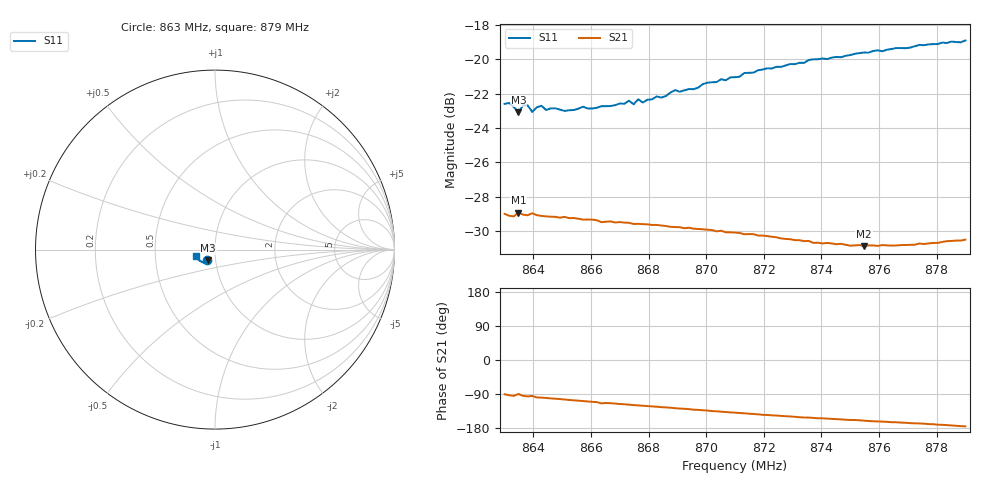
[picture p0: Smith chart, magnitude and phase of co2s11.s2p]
# HZ S RI R 50
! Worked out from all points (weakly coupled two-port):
!   101 points, 863 MHz to 879 MHz, reference 50 ohm
!   highest |S21| = -28.90 dB at 863.48 MHz (marker M1); lowest = -30.9 dB at 875.48 MHz (marker M2)
!   lowest |S11| = -23.1 dB at 863.48 MHz (marker M3), VSWR 1.15, Z = 46.1 - j5.47 ohm
!   |S11| at or under -10 dB: start of sweep to end of sweep
!   S12 and S22 are empty: the file has one direction only
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8.63e8  -0.0441 -0.0596  -0.00025 -0.0356  0 0  0 0
8.6316e8  -0.0449 -0.0596  -0.00192 -0.0351  0 0  0 0
8.6348e8  -0.0377 -0.0591  0.000146 -0.0359  0 0  0 0
8.6364e8  -0.0431 -0.0594  -0.00286 -0.0353  0 0  0 0
8.638e8  -0.0432 -0.0594  -0.00373 -0.035  0 0  0 0
8.6396e8  -0.0383 -0.0589  -0.00304 -0.0356  0 0  0 0
8.6428e8  -0.0425 -0.0596  -0.00563 -0.0346  0 0  0 0
8.6444e8  -0.041 -0.0582  -0.00619 -0.0344  0 0  0 0
8.6508e8  -0.0391 -0.0589  -0.00859 -0.0338  0 0  0 0
8.6572e8  -0.0395 -0.0611  -0.0108 -0.0325  0 0  0 0
8.6732e8  -0.0402 -0.0642  -0.0156 -0.0296  0 0  0 0
8.6748e8  -0.0379 -0.0635  -0.0161 -0.029  0 0  0 0
8.6764e8  -0.041 -0.0645  -0.0165 -0.0289  0 0  0 0
8.678e8  -0.0395 -0.0635  -0.0169 -0.0286  0 0  0 0
8.6844e8  -0.0403 -0.066  -0.0186 -0.0271  0 0  0 0
8.6892e8  -0.0428 -0.0691  -0.0197 -0.0259  0 0  0 0
8.6956e8  -0.0455 -0.0679  -0.0212 -0.0243  0 0  0 0
8.71e8  -0.0522 -0.0716  -0.0237 -0.0206  0 0  0 0
8.7372e8  -0.0708 -0.0705  -0.026 -0.0134  0 0  0 0
8.7548e8  -0.0836 -0.0627  -0.0269 -0.00976  0 0  0 0
8.7644e8  -0.0909 -0.0565  -0.0277 -0.00785  0 0  0 0
8.79e8  -0.1069 -0.0373  -0.0298 -0.00247  0 0  0 0
